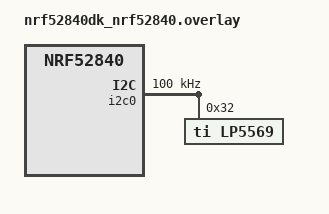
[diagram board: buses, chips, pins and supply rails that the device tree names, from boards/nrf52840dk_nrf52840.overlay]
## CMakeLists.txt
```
# SPDX-License-Identifier: Apache-2.0

cmake_minimum_required(VERSION 3.20.0)

find_package(Zephyr REQUIRED HINTS $ENV{ZEPHYR_BASE})
project(led_lp5569)

FILE(GLOB app_sources src/*.c)
target_sources(app PRIVATE ${app_sources})
```

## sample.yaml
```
sample:
  description: Demonstration of the LP5569 LED driver
  name: LP5569 sample
tests:
  sample.drivers.led.lp5569:
    platform_allow: nrf52840dk/nrf52840
    tags: led
```

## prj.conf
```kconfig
CONFIG_LOG=y
CONFIG_LED=y
```

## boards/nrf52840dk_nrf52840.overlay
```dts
/* SPDX-License-Identifier: Apache-2.0 */

&i2c0 {
	status = "okay";
	clock-frequency = <I2C_BITRATE_STANDARD>;

	lp5569@32 {
		compatible = "ti,lp5569";
		reg = <0x32>;
	};
};
```

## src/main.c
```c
/*
 * Copyright (c) 2023 Phytec Messtechnik GmbH
 *
 * SPDX-License-Identifier: Apache-2.0
 */

#include <zephyr/device.h>
#include <zephyr/drivers/led.h>
#include <zephyr/kernel.h>

#include <zephyr/logging/log.h>
LOG_MODULE_REGISTER(app, CONFIG_LED_LOG_LEVEL);

#define NUM_LEDS 9
#define DELAY_TIME_ON		K_MSEC(1000)
#define DELAY_TIME_BREATHING	K_MSEC(20)

int main(void)
{
	const struct device *const led_dev = DEVICE_DT_GET_ANY(ti_lp5569);
	int i, ret;

	if (!led_dev) {
		LOG_ERR("No device with compatible ti,lp5569 found");
		return 0;
	} else if (!device_is_ready(led_dev)) {
		LOG_ERR("LED device %s not ready", led_dev->name);
		return 0;
	}

	LOG_INF("Found LED device %s", led_dev->name);

	/*
	 * Display a continuous pattern that turns on 9 LEDs at 1 s one by
	 * one until it reaches the end and turns off LEDs in reverse order.
	 */

	LOG_INF("Testing 9 LEDs ..");

	while (1) {
		/* Turn on LEDs one by one */
		for (i = 0; i < NUM_LEDS; i++) {
			ret = led_on(led_dev, i);
			if (ret) {
				return ret;
			}

			k_sleep(DELAY_TIME_ON);
		}

		/* Turn all LEDs off slowly to demonstrate set_brightness */
		for (i = 0; i <= 100; i++) {
			for (int j = 0; j < NUM_LEDS; j++) {
				ret = led_set_brightness(led_dev, j, 100 - i);
				if (ret) {
					return ret;
				}
			}

			k_sleep(DELAY_TIME_BREATHING);
		}
	}
	return 0;
}
```
